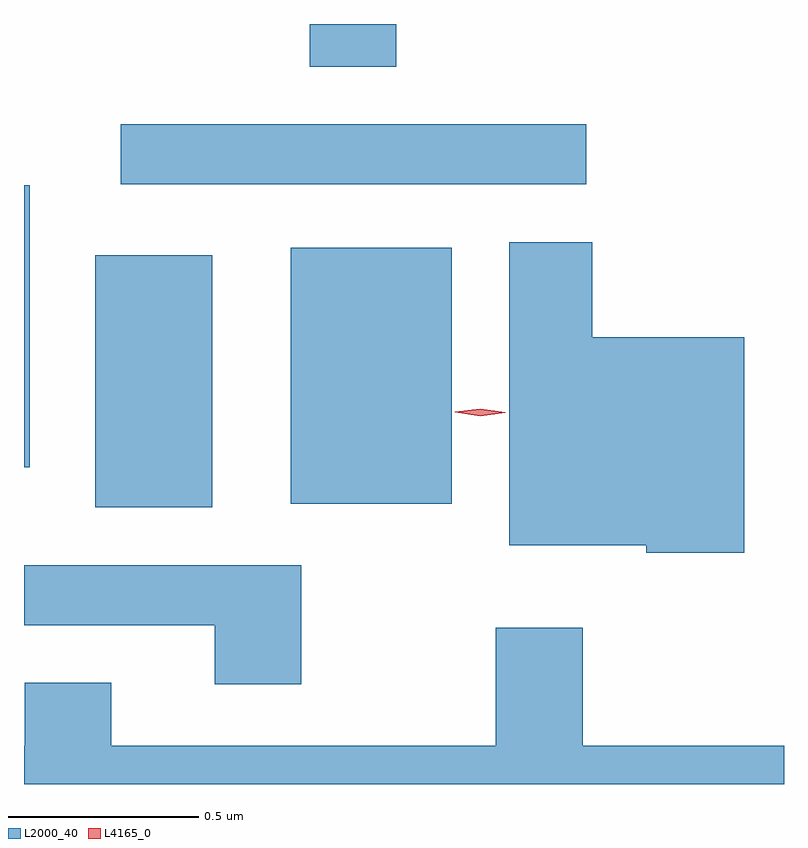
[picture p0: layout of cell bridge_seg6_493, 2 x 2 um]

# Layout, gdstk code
import gdstk
lib = gdstk.Library(unit=1e-6, precision=1e-09)
def R(c, l, rs):  # rectangles x0, y0, x1, y1
    for r in rs: c.add(gdstk.rectangle(r[:2], r[2:], *l))
def P(c, l, *ps):  # polygons
    for p in ps: c.add(gdstk.Polygon(p, *l))
L2000_40 = (2000, 40)
L4165_0 = (4165, 0)

bridge_seg6_493 = lib.new_cell('bridge_seg6_493')
R(bridge_seg6_493, L2000_40, [(689.636,1573.131,689.944,1573.794), (690.151,1573.141,690.574,1573.814), (689.449,1573.236,689.464,1573.979), (689.703,1573.981,690.928,1574.139), (690.201,1574.291,690.429,1574.403)])
P(bridge_seg6_493, L2000_40, [(691.344,1573.579),(690.944,1573.579),(690.944,1573.829),(690.726,1573.829),(690.726,1573.031),(691.086,1573.031),(691.086,1573.011),(691.344,1573.011)],
  [(690.179,1572.979),(689.449,1572.979),(689.449,1572.821),(689.951,1572.821),(689.951,1572.666),(690.179,1572.666)],
  [(691.449,1572.504),(690.919,1572.504),(690.919,1572.814),(690.691,1572.814),(690.691,1572.504),(689.679,1572.504),(689.679,1572.669),(689.451,1572.669),(689.451,1572.504),(689.449,1572.504),(689.449,1572.403),(691.449,1572.403)])
P(bridge_seg6_493, L4165_0, [(690.65,1573.371),(690.584,1573.381),(690.583,1573.382),(690.584,1573.382),(690.65,1573.391),(690.715,1573.381),(690.716,1573.381),(690.715,1573.38)])

lib.write_gds('bridge_seg6_493.gds')
